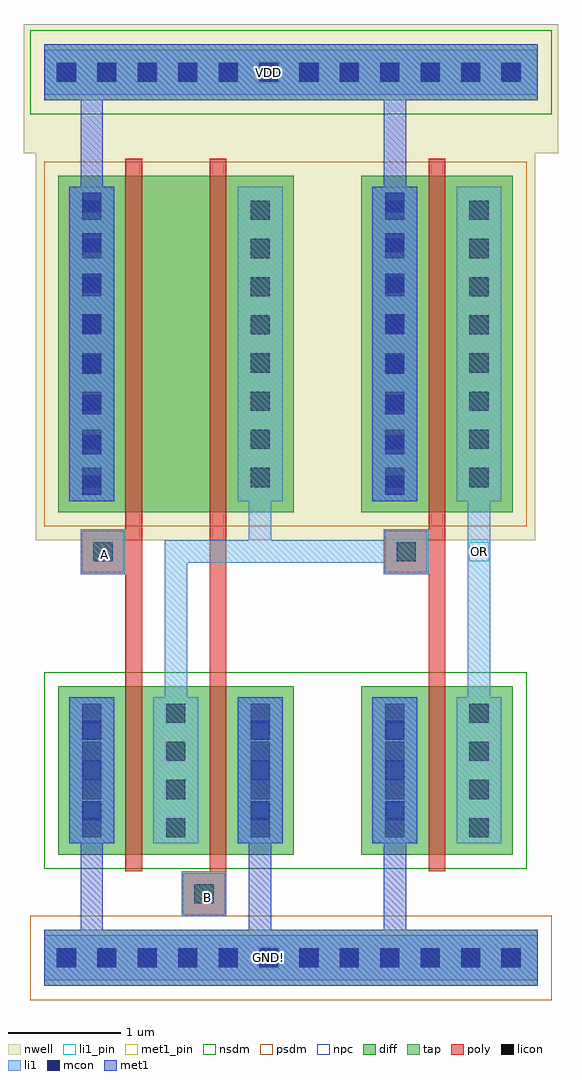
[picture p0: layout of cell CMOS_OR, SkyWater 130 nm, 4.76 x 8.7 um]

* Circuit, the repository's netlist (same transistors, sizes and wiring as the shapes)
* NGSPICE file created from CMOS_OR.ext - technology: sky130A

.subckt CMOS_OR GND OR B A VDD
X0 OR a_n1020_750# VDD VDD sky130_fd_pr__pfet_01v8 ad=1.8e+12p pd=7.2e+06u as=3.6e+12p ps=1.44e+07u w=3e+06u l=150000u
X1 GND B a_n1020_750# GND sky130_fd_pr__nfet_01v8 ad=2.7e+12p pd=1.26e+07u as=9e+11p ps=4.2e+06u w=1.5e+06u l=150000u
X2 OR a_n1020_750# GND GND sky130_fd_pr__nfet_01v8 ad=9e+11p pd=4.2e+06u as=0p ps=0u w=1.5e+06u l=150000u
X3 a_n1020_750# B a_n1020_1360# VDD sky130_fd_pr__pfet_01v8 ad=1.8e+12p pd=7.2e+06u as=1.8e+12p ps=7.2e+06u w=3e+06u l=150000u
X4 a_n1020_1360# A VDD VDD sky130_fd_pr__pfet_01v8 ad=0p pd=0u as=0p ps=0u w=3e+06u l=150000u
X5 a_n1020_750# A GND GND sky130_fd_pr__nfet_01v8 ad=0p pd=0u as=0p ps=0u w=1.5e+06u l=150000u
.ends

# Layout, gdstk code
import gdstk
lib = gdstk.Library(unit=1e-6, precision=1e-09)
def R(c, l, rs):  # rectangles x0, y0, x1, y1
    for r in rs: c.add(gdstk.rectangle(r[:2], r[2:], *l))
def A(c, l, x, y, w, h, nx, ny, dx, dy):  # array of equal rectangles
    R(c, l, [(x+i*dx, y+j*dy, x+i*dx+w, y+j*dy+h) for i in range(nx) for j in range(ny)])
nwell = (64, 20)
diff = (65, 20)
tap = (65, 44)
poly = (66, 20)
licon = (66, 44)
li1_pin = (67, 16)
li1 = (67, 20)
mcon = (67, 44)
met1_pin = (68, 16)
met1 = (68, 20)
nsdm = (93, 44)
psdm = (94, 20)
npc = (95, 20)

cmos_or = lib.new_cell('CMOS_OR')
R(cmos_or, nwell, [(-6.05,6.55,-1.6,10), (-6.155,10,-1.395,11.15)])
R(cmos_or, diff, [(-5.85,3.75,-3.75,5.25), (-3.15,3.75,-1.8,5.25), (-5.85,6.8,-3.75,9.8), (-3.15,6.8,-1.8,9.8)])
R(cmos_or, tap, [(-5.975,2.58,-1.575,3.08), (-5.975,10.47,-1.575,10.97)])
R(cmos_or, poly, [(-4.75,3.2,-4.35,3.6), (-5.25,3.6,-5.1,6.25), (-4.5,3.6,-4.35,9.95), (-2.55,3.6,-2.4,6.25), (-5.65,6.25,-5.1,6.65), (-2.95,6.25,-2.4,6.65), (-5.25,6.65,-5.1,9.95), (-2.55,6.65,-2.4,9.95)])
A(cmos_or, licon, -5.86, 2.745, 0.17, 0.17, 6, 2, 0.36, 7.89)
A(cmos_or, licon, -4.06, 2.745, 0.17, 0.17, 7, 2, 0.36, 7.89)
A(cmos_or, licon, -5.635, 3.905, 0.17, 0.17, 3, 4, 0.75, 0.34)
A(cmos_or, licon, -2.935, 3.905, 0.17, 0.17, 1, 4, 0, 0.34)
A(cmos_or, licon, -2.185, 3.905, 0.17, 0.17, 1, 4, 0, 0.34)
A(cmos_or, licon, -5.635, 7.025, 0.17, 0.17, 1, 8, 0, 0.34)
A(cmos_or, licon, -4.135, 7.025, 0.17, 0.17, 1, 8, 0, 0.34)
A(cmos_or, licon, -2.935, 7.025, 0.17, 0.17, 1, 8, 0, 0.34)
A(cmos_or, licon, -2.185, 7.025, 0.17, 0.17, 1, 8, 0, 0.34)
R(cmos_or, licon, [(-4.06,2.745,-3.89,2.915), (-4.635,3.315,-4.465,3.485), (-5.535,6.365,-5.365,6.535), (-2.835,6.365,-2.665,6.535), (-4.06,10.635,-3.89,10.805)])
R(cmos_or, li1_pin, [(-4.635,3.315,-4.465,3.485), (-5.535,6.365,-5.365,6.535), (-2.185,6.365,-2.015,6.535)])
A(cmos_or, li1, -5.75, 3.85, 0.4, 1.3, 3, 1, 0.75, 0)
R(cmos_or, li1, [(-5.975,2.63,-1.575,3.03), (-4.75,3.2,-4.35,3.6), (-3.05,3.85,-2.65,5.15), (-2.3,3.85,-1.9,5.15), (-2.2,5.145,-2,6.9), (-4.9,5.15,-4.7,6.35), (-5.65,6.25,-5.25,6.65), (-2.95,6.25,-2.55,6.35), (-4.9,6.35,-2.55,6.55), (-4.15,6.55,-3.95,6.9), (-2.95,6.55,-2.55,6.65), (-5.75,6.9,-5.35,9.7), (-4.25,6.9,-3.85,9.7), (-3.05,6.9,-2.65,9.7), (-2.3,6.9,-1.9,9.7), (-5.975,10.52,-1.575,10.92)])
A(cmos_or, mcon, -5.86, 2.745, 0.17, 0.17, 6, 2, 0.36, 7.89)
A(cmos_or, mcon, -4.06, 2.745, 0.17, 0.17, 7, 2, 0.36, 7.89)
A(cmos_or, mcon, -5.635, 4.055, 0.17, 0.17, 1, 3, 0, 0.36)
A(cmos_or, mcon, -4.135, 4.055, 0.17, 0.17, 1, 3, 0, 0.36)
A(cmos_or, mcon, -2.935, 4.055, 0.17, 0.17, 1, 3, 0, 0.36)
A(cmos_or, mcon, -5.635, 6.955, 0.17, 0.17, 1, 8, 0, 0.36)
A(cmos_or, mcon, -2.935, 6.955, 0.17, 0.17, 1, 8, 0, 0.36)
R(cmos_or, mcon, [(-4.06,2.745,-3.89,2.915), (-4.06,10.635,-3.89,10.805)])
R(cmos_or, met1_pin, [(-4.075,2.73,-3.875,2.93), (-4.075,10.62,-3.875,10.82)])
R(cmos_or, met1, [(-5.975,2.58,-1.575,3.08), (-5.75,3.85,-5.35,5.15), (-4.25,3.85,-3.85,5.15), (-3.05,3.85,-2.65,5.15), (-5.75,6.9,-5.35,9.7), (-3.05,6.9,-2.65,9.7), (-5.975,10.47,-1.575,10.97)])
R(cmos_or, nsdm, [(-5.975,3.625,-1.675,5.375), (-6.1,10.345,-1.45,11.095)])
R(cmos_or, psdm, [(-6.1,2.455,-1.45,3.205), (-5.975,6.675,-1.675,9.925)])
R(cmos_or, npc, [(-4.735,3.215,-4.365,3.585), (-5.635,6.265,-5.265,6.635), (-2.935,6.265,-2.565,6.635)])
cmos_or.add(gdstk.FlexPath([(-5.55,3.85),(-5.55,3.08)], 0.2, ends="flush", simple_path=True, layer=68, datatype=20))  # met1
cmos_or.add(gdstk.FlexPath([(-4.05,3.85),(-4.05,3.08)], 0.2, ends="flush", simple_path=True, layer=68, datatype=20))  # met1
cmos_or.add(gdstk.FlexPath([(-2.85,3.85),(-2.85,3.08)], 0.2, ends="flush", simple_path=True, layer=68, datatype=20))  # met1
cmos_or.add(gdstk.FlexPath([(-5.55,9.7),(-5.55,10.47)], 0.2, ends="flush", simple_path=True, layer=68, datatype=20))  # met1
cmos_or.add(gdstk.FlexPath([(-2.85,9.7),(-2.85,10.47)], 0.2, ends="flush", simple_path=True, layer=68, datatype=20))  # met1
cmos_or.add(gdstk.Label('GND!', (-3.975,2.83), layer=68, texttype=16))
cmos_or.add(gdstk.Label('VDD', (-3.975,10.72), layer=68, texttype=16))
cmos_or.add(gdstk.Label('OR', (-2.095,6.45), layer=67, texttype=16))
cmos_or.add(gdstk.Label('B', (-4.52,3.37), layer=67, texttype=16))
cmos_or.add(gdstk.Label('A', (-5.435,6.42), layer=67, texttype=16))

lib.write_gds('CMOS_OR.gds')
